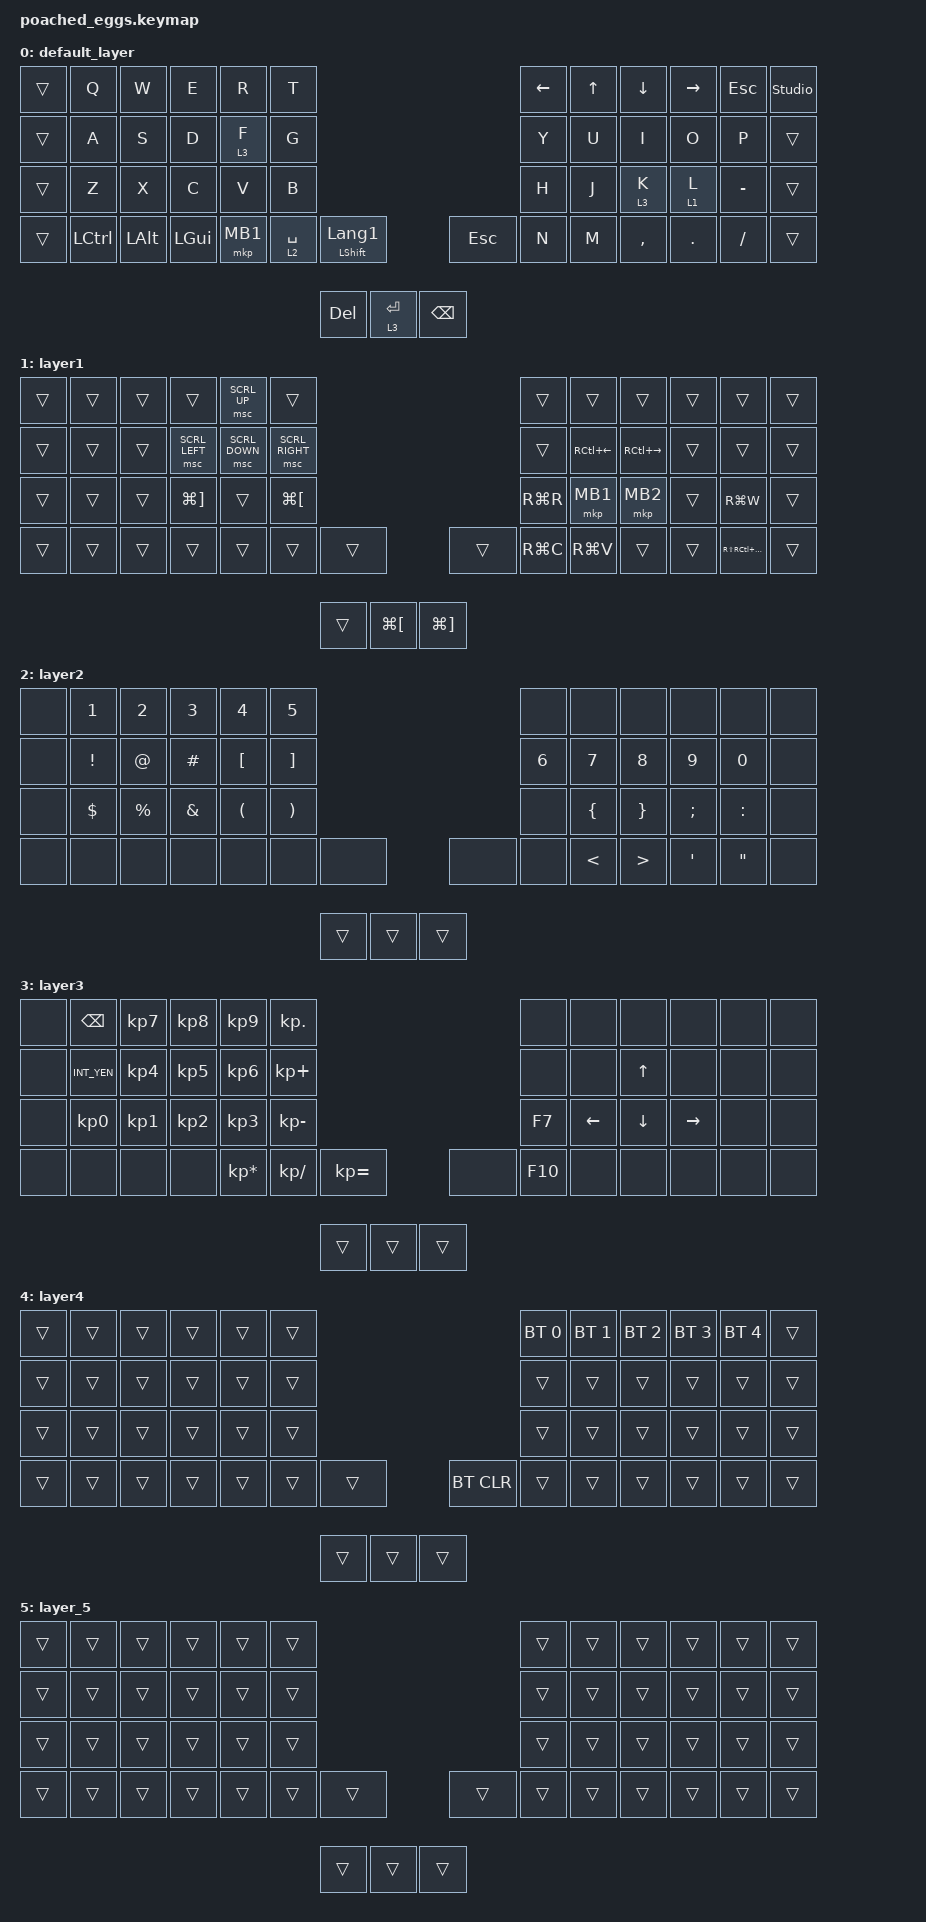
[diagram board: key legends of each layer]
#include <behaviors.dtsi>
#include <dt-bindings/zmk/bt.h>
#include <dt-bindings/zmk/keys.h>
#include <dt-bindings/zmk/pointing.h>

/ {
    combos {
        compatible = "zmk,combos";

        lang2 {
            bindings = <&kp LANGUAGE_2>;
            key-positions = <16 15>;
        };

        blue {
            bindings = <&lt 4 ESCAPE>;
            key-positions = <37 38 39>;
        };
    };

    keymap {
        compatible = "zmk,keymap";

        default_layer {
            bindings = <
&trans   &kp Q             &kp W          &kp E         &kp R     &kp T                                               &kp LEFT_ARROW  &kp UP_ARROW  &kp DOWN_ARROW  &kp RIGHT_ARROW  &kp ESCAPE  &studio_unlock
&trans   &kp A             &kp S          &kp D         &lt 3 F   &kp G                                               &kp Y           &kp U         &kp I           &kp O            &kp P       &trans
&trans   &kp Z             &kp X          &kp C         &kp V     &kp B                                               &kp H           &kp J         &lt 3 K         &lt 1 L          &kp MINUS   &trans
&trans   &kp LEFT_CONTROL  &kp LEFT_ALT   &kp LEFT_GUI  &mkp MB1  &lt 2 SPACE  &mt LEFT_SHIFT LANGUAGE_1  &kp ESCAPE  &kp N           &kp M         &kp COMMA       &kp DOT          &kp FSLH    &trans
&kp DEL  &lt 3 ENTER       &kp BACKSPACE
            >;
        };

        layer1 {
            bindings = <
&trans  &trans                &trans                 &trans                 &msc SCRL_UP    &trans                                &trans     &trans              &trans               &trans  &trans                    &trans
&trans  &trans                &trans                 &msc SCRL_LEFT         &msc SCRL_DOWN  &msc SCRL_RIGHT                       &trans     &kp RC(LEFT_ARROW)  &kp RC(RIGHT_ARROW)  &trans  &trans                    &trans
&trans  &trans                &trans                 &kp LG(RIGHT_BRACKET)  &trans          &kp LG(LEFT_BRACKET)                  &kp RG(R)  &mkp MB1            &mkp MB2             &trans  &kp RG(W)                 &trans
&trans  &trans                &trans                 &trans                 &trans          &trans                &trans  &trans  &kp RG(C)  &kp RG(V)           &trans               &trans  &kp RS(RC(RG(NUMBER_4)))  &trans
&trans  &kp LG(LEFT_BRACKET)  &kp LG(RIGHT_BRACKET)
            >;
        };

        layer2 {
            bindings = <
&none   &kp NUMBER_1  &kp NUMBER_2  &kp NUMBER_3   &kp NUMBER_4          &kp N5                               &none         &none           &none             &none             &none              &none
&none   &kp EXCL      &kp AT        &kp HASH       &kp LEFT_BRACKET      &kp RIGHT_BRACKET                    &kp NUMBER_6  &kp N7          &kp N8            &kp N9            &kp N0             &none
&none   &kp DOLLAR    &kp PERCENT   &kp AMPERSAND  &kp LEFT_PARENTHESIS  &kp RIGHT_PARENTHESIS                &none         &kp LEFT_BRACE  &kp RIGHT_BRACE   &kp SEMICOLON     &kp COLON          &none
&none   &none         &none         &none          &none                 &none                  &none  &none  &none         &kp LESS_THAN   &kp GREATER_THAN  &kp SINGLE_QUOTE  &kp DOUBLE_QUOTES  &none
&trans  &trans        &trans
            >;
        };

        layer3 {
            bindings = <
&none   &kp BACKSPACE  &kp KP_N7  &kp KP_N8  &kp KP_N9        &kp KP_DOT                         &none    &none           &none           &none            &none  &none
&none   &kp INT_YEN    &kp KP_N4  &kp KP_N5  &kp KP_N6        &kp KP_PLUS                        &none    &none           &kp UP_ARROW    &none            &none  &none
&none   &kp KP_N0      &kp KP_N1  &kp KP_N2  &kp KP_N3        &kp KP_MINUS                       &kp F7   &kp LEFT_ARROW  &kp DOWN_ARROW  &kp RIGHT_ARROW  &none  &none
&none   &none          &none      &none      &kp KP_MULTIPLY  &kp KP_SLASH  &kp KP_EQUAL  &none  &kp F10  &none           &none           &none            &none  &none
&trans  &trans         &trans
            >;
        };

        layer4 {
            bindings = <
&trans  &trans  &trans  &trans  &trans  &trans                      &bt BT_SEL 0  &bt BT_SEL 1  &bt BT_SEL 2  &bt BT_SEL 3  &bt BT_SEL 4  &trans
&trans  &trans  &trans  &trans  &trans  &trans                      &trans        &trans        &trans        &trans        &trans        &trans
&trans  &trans  &trans  &trans  &trans  &trans                      &trans        &trans        &trans        &trans        &trans        &trans
&trans  &trans  &trans  &trans  &trans  &trans  &trans  &bt BT_CLR  &trans        &trans        &trans        &trans        &trans        &trans
&trans  &trans  &trans
            >;
        };

        layer_5 {
            bindings = <
&trans  &trans  &trans  &trans  &trans  &trans                  &trans  &trans  &trans  &trans  &trans  &trans
&trans  &trans  &trans  &trans  &trans  &trans                  &trans  &trans  &trans  &trans  &trans  &trans
&trans  &trans  &trans  &trans  &trans  &trans                  &trans  &trans  &trans  &trans  &trans  &trans
&trans  &trans  &trans  &trans  &trans  &trans  &trans  &trans  &trans  &trans  &trans  &trans  &trans  &trans
&trans  &trans  &trans
            >;
        };
    };
};
